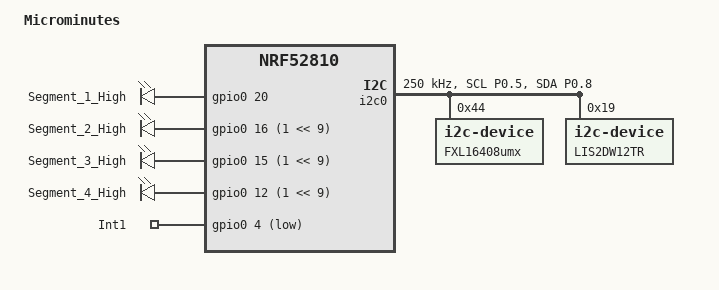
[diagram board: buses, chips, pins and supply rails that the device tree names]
// Copyright (c) 2024 Nordic Semiconductor ASA
// SPDX-License-Identifier: Apache-2.0

/dts-v1/;
#include <nordic/nrf52810_qfaa.dtsi>

/ {
	model = "Microminutes";
	compatible = "jacob-lundstrom,microminutes";

	chosen {
		zephyr,sram = &sram0;
		zephyr,flash = &flash0;
		zephyr,code-partition = &slot0_partition;
	};

	aliases {
		led1 = &segment1high;
		led2 = &segment2high;
		led3 = &segment3high;
		led4 = &segment4high;
		int1 = &int1;
	};

	leds {
		compatible = "gpio-leds";

		segment1high: segment_1_high {
			gpios = <&gpio0 20 0>;
			label = "Segment_1_High";
		};

		segment2high: segment_2_high {
			gpios = <&gpio0 16 (1 << 9)>;
			label = "Segment_2_High";
		};

		segment3high: segment_3_high {
			gpios = <&gpio0 15 (1 << 9)>;
			label = "Segment_3_High";
		};

		segment4high: segment_4_high {
			gpios = <&gpio0 12 (1 << 9)>;
			label = "Segment_4_High";
		};

	};

	buttons {
		compatible = "gpio-keys";
		int1: int1 {
			gpios = <&gpio0 4 (GPIO_ACTIVE_LOW | GPIO_PULL_UP)>;
			label = "Int1";
		};
	};

	
};

&flash0 {
	partitions {
		compatible = "fixed-partitions";
		#address-cells = <1>;
		#size-cells = <1>;

		boot_partition: partition@0 {
			label = "mcuboot";
			reg = <0x0 0xc000>;
		};
		slot0_partition: partition@c000 {
			label = "image-0";
			reg = <0xc000 0xa000>;
		};
		slot1_partition: partition@16000 {
			label = "image-1";
			reg = <0x16000 0xa000>;
		};
		scratch_partition: partition@20000 {
			label = "image-scratch";
			reg = <0x20000 0xa000>;
		};
		storage_partition: partition@2a000 {
			label = "storage";
			reg = <0x2a000 0x6000>;
		};
	};
};


&gpio0 {
	status = "okay";
	gpiote-instance = <&gpiote>;
};

&gpiote {
	status = "okay";
};

&i2c0 {
	compatible = "nordic,nrf-twim";
	status = "okay";

	pinctrl-0 = <&i2c0_default>;
	pinctrl-names = "default";
	clock-frequency = <250000>;

	fxl6408umx: fxl6408umx@44{
		compatible="i2c-device";
		label="FXL16408umx";
		reg = <0x44>;
	};

	lis2dw12tr: lis2dw12tr@19{
		compatible="i2c-device";
		label="LIS2DW12TR";
		reg = <0x19>;
		// int-gpios = <&gpio0 4 (GPIO_PULL_UP | GPIO_ACTIVE_LOW)>;
	};
};



&pinctrl {
	i2c0_default: i2c0_default {
		group1 {
			psels = <NRF_PSEL(TWIM_SCL, 0, 5)>, <NRF_PSEL(TWIM_SDA, 0, 8)>;
		};
	};
};


